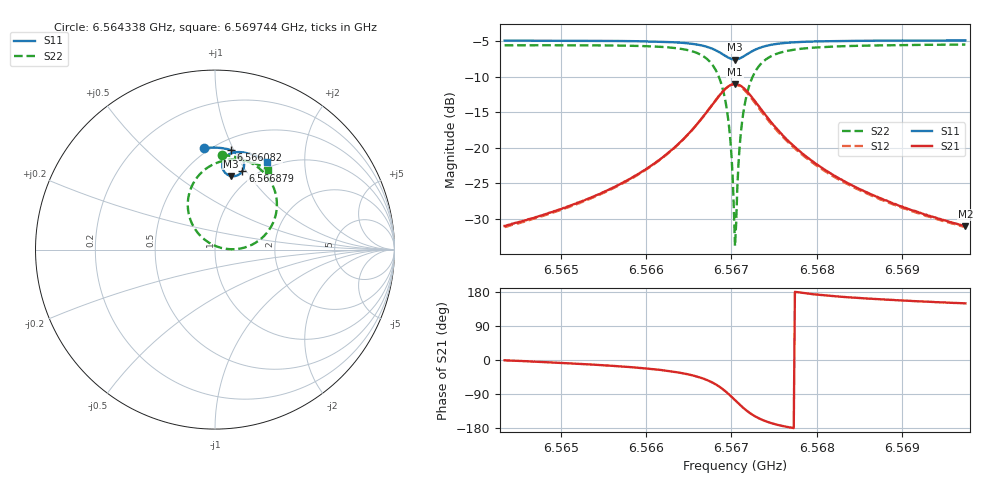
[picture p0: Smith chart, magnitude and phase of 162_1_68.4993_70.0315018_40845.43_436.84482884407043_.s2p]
#  HZ  S  RI  R  50.00
! Rohde & Schwarz Vector Network Analyzer
! Rohde-Schwarz,ZNB20-2Port,1311601062101988,3.16
! Created: UTC 3/20/2024, 4:55:49 PM
! freq[Hz]  re:S11  im:S11  re:S21  im:S21  re:S12  im:S12  re:S22  im:S22
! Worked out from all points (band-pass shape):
!   401 points, 6.564338 GHz to 6.569744 GHz, reference 50 ohm
!   highest |S21| = -10.99 dB at 6.567041 GHz (marker M1); lowest = -31.0 dB at 6.569744 GHz (marker M2)
!   |S21| within 3 dB of the highest: 6.56677 GHz to 6.567311 GHz (540.6 kHz wide, 0.00823 % of centre)
!   lowest |S11| = -7.5 dB at 6.567041 GHz (marker M3), VSWR 2.44, Z = 41.2 + j41 ohm
!   |S11| at or under -10 dB: nowhere
!   |S22| runs from -33.8 to -5.4 dB; largest |S21 - S12| = 0.013
!   S11 on the Smith chart (normalised r, x): 6.564338 GHz: 0.47, +0.78; 6.566082 GHz: 0.60, +0.97; 6.566879 GHz: 0.86, +0.96; 6.569744 GHz: 0.91, +1.32
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6.5643384e9  -0.0639 0.5657  0.0283 -0.000353  0.0278 -0.000855  0.0372 0.5267
6.5652438e9  0.0105 0.568  0.0414 -0.00766  0.0407 -0.00836  0.1236 0.5132
6.5660817e9  0.0888 0.5543  0.07 -0.0315  0.0689 -0.0323  0.2331 0.4629
6.5661493e9  0.096 0.5518  0.0738 -0.0358  0.0727 -0.0368  0.2451 0.4541
6.5664466e9  0.1305 0.5325  0.0949 -0.0684  0.0934 -0.0699  0.304 0.3894
6.5666628e9  0.1554 0.5009  0.1087 -0.1234  0.1063 -0.1259  0.343 0.2834
6.5667844e9  0.162 0.4696  0.101 -0.1783  0.0966 -0.1817  0.3341 0.1784
6.566879e9  0.1527 0.4381  0.0679 -0.2326  0.0599 -0.2357  0.2741 0.0767
6.5669601e9  0.1268 0.4146  0.00638 -0.2704  -0.00477 -0.2705  0.1611 0.0104
6.5669871e9  0.1145 0.4103  -0.0204 -0.2761  -0.0323 -0.2742  0.1124 0.00241
6.5670277e9  0.0943 0.4089  -0.0633 -0.2747  -0.0752 -0.2697  0.0362 0.00914
6.5670412e9  0.0877 0.4101  -0.0772 -0.2713  -0.0891 -0.2652  0.0116 0.0167
6.5670547e9  0.0811 0.412  -0.091 -0.2665  -0.1025 -0.2595  -0.0121 0.0269
6.5670682e9  0.0748 0.4146  -0.1043 -0.2605  -0.1151 -0.2524  -0.0344 0.0392
6.5670953e9  0.0633 0.4217  -0.128 -0.2452  -0.1375 -0.2355  -0.074 0.0696
6.5671358e9  0.0503 0.4361  -0.156 -0.2156  -0.1624 -0.2045  -0.1179 0.125
6.5671899e9  0.0414 0.4577  -0.1772 -0.1725  -0.18 -0.1611  -0.1473 0.2035
6.5672574e9  0.0416 0.4831  -0.1829 -0.1228  -0.1826 -0.113  -0.1483 0.2904
6.5675007e9  0.0789 0.5312  -0.1406 -0.0278  -0.1375 -0.0236  -0.0511 0.4498
6.5679467e9  0.1417 0.5431  -0.0804 0.00865  -0.0785 0.0098  0.0855 0.5004
6.5688521e9  0.2262 0.5225  -0.039 0.0151  -0.038 0.0153  0.2159 0.4824
6.569744e9  0.2922 0.4908  -0.0242 0.0143  -0.0237 0.0144  0.2943 0.4461
